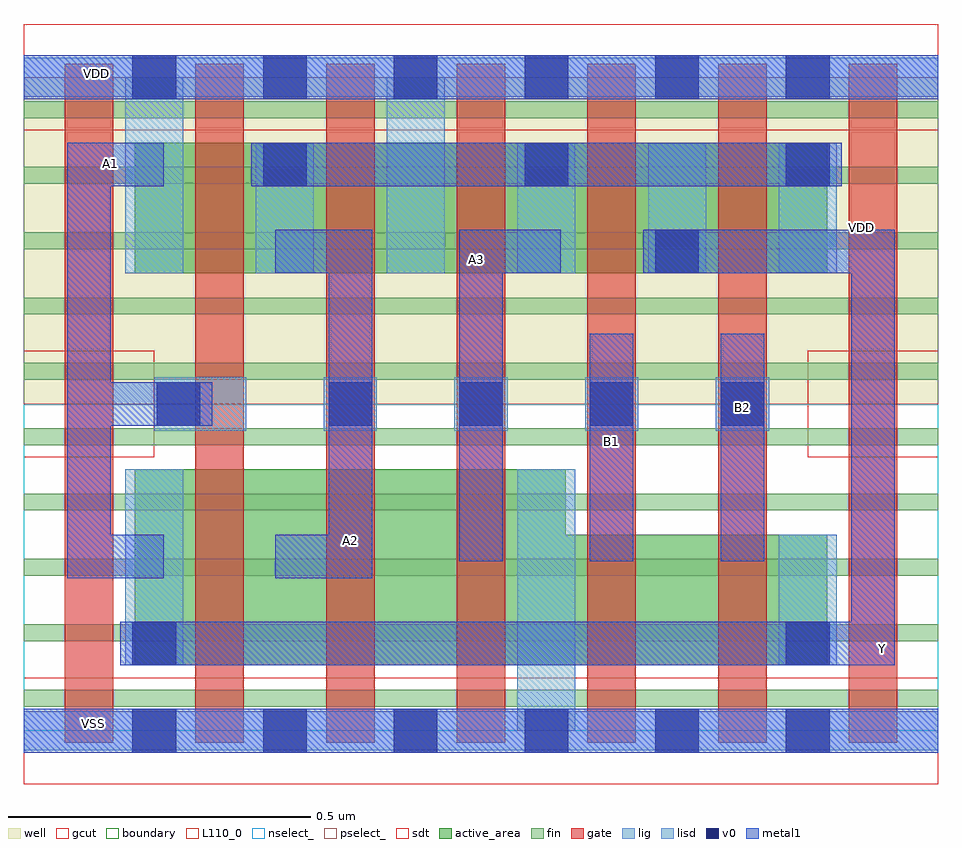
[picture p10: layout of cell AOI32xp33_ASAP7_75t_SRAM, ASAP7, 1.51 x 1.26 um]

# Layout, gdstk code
import gdstk
lib = gdstk.Library(unit=1e-6, precision=2.5e-10)
def R(c, l, rs):  # rectangles x0, y0, x1, y1
    for r in rs: c.add(gdstk.rectangle(r[:2], r[2:], *l))
def A(c, l, x, y, w, h, nx, ny, dx, dy):  # array of equal rectangles
    R(c, l, [(x+i*dx, y+j*dy, x+i*dx+w, y+j*dy+h) for i in range(nx) for j in range(ny)])
def P(c, l, *ps):  # polygons
    for p in ps: c.add(gdstk.Polygon(p, *l))
well = (1, 0)
fin = (2, 0)
gate = (7, 0)
gcut = (10, 0)
active_area = (11, 0)
nselect_ = (12, 0)
pselect_ = (13, 0)
lig = (16, 0)
lisd = (17, 0)
v0 = (18, 0)
metal1 = (19, 0)
sdt = (88, 0)
boundary = (100, 0)
L110_0 = (110, 0)

aoi32xp33_asap7_75t_sram = lib.new_cell('AOI32xp33_ASAP7_75t_SRAM')
R(aoi32xp33_asap7_75t_sram, well, [(0,0.54,1.512,1.08)])
A(aoi32xp33_asap7_75t_sram, fin, 0, 0.04, 1.512, 0.028, 1, 10, 0, 0.108)
A(aoi32xp33_asap7_75t_sram, gate, 0.068, -0.02, 0.08, 1.122, 7, 1, 0.216, 0)
R(aoi32xp33_asap7_75t_sram, gcut, [(0,-0.088,1.512,0.088), (0,0.452,0.216,0.628), (1.296,0.452,1.512,0.628), (0,0.992,1.512,1.168)])
R(aoi32xp33_asap7_75t_sram, active_area, [(0.184,0.756,1.328,0.972)])
P(aoi32xp33_asap7_75t_sram, active_area, [(1.328,0.324),(0.896,0.324),(0.896,0.432),(0.184,0.432),(0.184,0.108),(1.328,0.108)])
R(aoi32xp33_asap7_75t_sram, nselect_, [(0,0,1.512,0.54)])
R(aoi32xp33_asap7_75t_sram, pselect_, [(0,0.54,1.512,1.08)])
A(aoi32xp33_asap7_75t_sram, lig, 0.496, 0.496, 0.088, 0.088, 4, 1, 0.216, 0)
R(aoi32xp33_asap7_75t_sram, lig, [(0,-0.032,1.512,0.032), (0.216,0.496,0.368,0.584), (0,1.048,1.512,1.112)])
A(aoi32xp33_asap7_75t_sram, lisd, 0.816, 0.756, 0.096, 0.216, 3, 1, 0.216, 0)
R(aoi32xp33_asap7_75t_sram, lisd, [(0.816,0,0.912,0.432), (0.168,0.108,0.264,0.432), (1.248,0.108,1.344,0.324), (0.168,0.756,0.264,1.08), (0.384,0.756,0.48,0.972), (0.6,0.756,0.696,1.08)])
A(aoi32xp33_asap7_75t_sram, v0, 0.18, -0.036, 0.072, 0.072, 6, 2, 0.216, 1.08)
A(aoi32xp33_asap7_75t_sram, v0, 0.504, 0.504, 0.072, 0.072, 4, 1, 0.216, 0)
A(aoi32xp33_asap7_75t_sram, v0, 0.396, 0.9, 0.072, 0.072, 3, 1, 0.432, 0)
R(aoi32xp33_asap7_75t_sram, v0, [(0.18,0.108,0.252,0.18), (1.26,0.108,1.332,0.18), (0.22,0.504,0.292,0.576), (1.044,0.756,1.116,0.828)])
R(aoi32xp33_asap7_75t_sram, metal1, [(0,-0.036,1.512,0.036), (0.936,0.28,1.008,0.656), (1.152,0.28,1.224,0.656), (0.376,0.9,1.352,0.972), (0,1.044,1.512,1.116)])
P(aoi32xp33_asap7_75t_sram, metal1, [(1.44,0.828),(1.024,0.828),(1.024,0.756),(1.368,0.756),(1.368,0.18),(0.16,0.18),(0.16,0.108),(1.44,0.108)],
  [(0.888,0.828),(0.72,0.828),(0.72,0.28),(0.792,0.28),(0.792,0.756),(0.888,0.756)],
  [(0.576,0.828),(0.416,0.828),(0.416,0.756),(0.504,0.756),(0.504,0.324),(0.416,0.324),(0.416,0.252),(0.576,0.252)],
  [(0.312,0.576),(0.144,0.576),(0.144,0.9),(0.232,0.9),(0.232,0.972),(0.072,0.972),(0.072,0.252),(0.232,0.252),(0.232,0.324),(0.144,0.324),(0.144,0.504),(0.312,0.504)])
A(aoi32xp33_asap7_75t_sram, sdt, 0.168, 0.756, 0.096, 0.216, 6, 1, 0.216, 0)
R(aoi32xp33_asap7_75t_sram, sdt, [(0.168,0.108,0.264,0.432), (0.816,0.108,0.912,0.432), (1.248,0.108,1.344,0.324)])
R(aoi32xp33_asap7_75t_sram, boundary, [(0,0,1.512,1.08)])
R(aoi32xp33_asap7_75t_sram, L110_0, [(0,0,1.512,1.08)])
aoi32xp33_asap7_75t_sram.add(gdstk.Label('VSS', (1.66,0.828), layer=3, texttype=251))
aoi32xp33_asap7_75t_sram.add(gdstk.Label('VDD', (1.384,0.832), layer=1, texttype=251))
aoi32xp33_asap7_75t_sram.add(gdstk.Label('VDD', (0.12,1.086), layer=19, texttype=251))
aoi32xp33_asap7_75t_sram.add(gdstk.Label('VSS', (0.116,0.012), layer=19, texttype=251))
aoi32xp33_asap7_75t_sram.add(gdstk.Label('A1', (0.144,0.938), layer=19, texttype=251))
aoi32xp33_asap7_75t_sram.add(gdstk.Label('A2', (0.54,0.314), layer=19, texttype=251))
aoi32xp33_asap7_75t_sram.add(gdstk.Label('Y', (1.42,0.136), layer=19, texttype=251))
aoi32xp33_asap7_75t_sram.add(gdstk.Label('A3', (0.748,0.778), layer=19, texttype=251))
aoi32xp33_asap7_75t_sram.add(gdstk.Label('B1', (0.972,0.478), layer=19, texttype=251))
aoi32xp33_asap7_75t_sram.add(gdstk.Label('B2', (1.188,0.534), layer=19, texttype=251))
aoi32xp33_asap7_75t_sram.add(gdstk.Label('Y', (1.42,0.136), layer=19, texttype=251))

lib.write_gds('AOI32xp33_ASAP7_75t_SRAM.gds')
